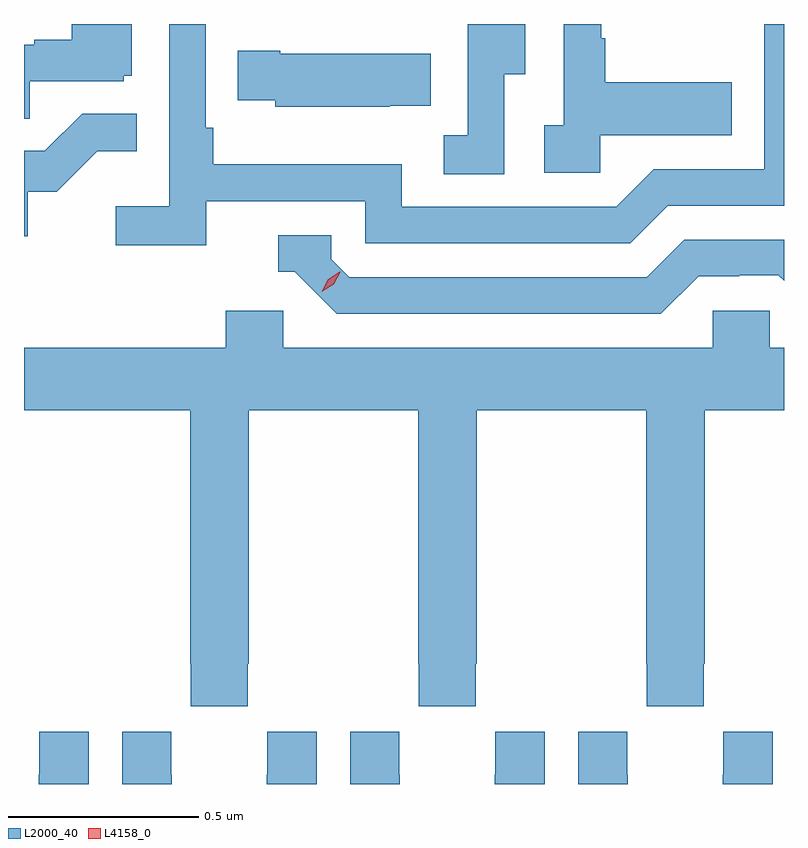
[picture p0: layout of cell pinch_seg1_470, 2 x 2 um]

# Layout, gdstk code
import gdstk
lib = gdstk.Library(unit=1e-6, precision=1e-09)
def P(c, l, *ps):  # polygons
    for p in ps: c.add(gdstk.Polygon(p, *l))
L2000_40 = (2000, 40)
L4158_0 = (4158, 0)

pinch_seg1_470 = lib.new_cell('pinch_seg1_470')
P(pinch_seg1_470, L2000_40, [(983.886,512.656),(983.941,512.656),(983.941,512.788),(983.79,512.788),(983.79,512.495),(983.727,512.495),(983.727,512.392),(983.886,512.392)],
  [(982.637,512.637),(982.884,512.637),(982.884,512.652),(982.906,512.652),(982.906,512.788),(982.748,512.788),(982.748,512.746),(982.649,512.746),(982.649,512.733),(982.622,512.733),(982.622,512.539),(982.637,512.539)],
  [(984.138,512.495),(984.485,512.495),(984.485,512.635),(984.151,512.635),(984.151,512.75),(984.141,512.75),(984.141,512.788),(984.042,512.788),(984.042,512.522),(983.991,512.522),(983.991,512.397),(984.138,512.397)],
  [(983.102,512.322),(983.52,512.322),(983.52,512.211),(984.217,512.211),(984.316,512.31),(984.622,512.31),(984.622,512.788),(984.57,512.788),(984.57,512.406),(984.279,512.406),(984.18,512.307),(983.616,512.307),(983.616,512.419),(983.12,512.419),(983.12,512.515),(983.1,512.515),(983.1,512.788),(983.004,512.788),(983.004,512.308),(982.863,512.308),(982.863,512.206),(983.102,512.206)],
  [(983.585,512.573),(983.693,512.573),(983.693,512.71),(983.296,512.71),(983.296,512.718),(983.185,512.718),(983.185,512.588),(983.283,512.588),(983.283,512.57),(983.585,512.57)],
  [(982.632,512.346),(982.708,512.346),(982.815,512.453),(982.919,512.453),(982.919,512.552),(982.775,512.552),(982.677,512.454),(982.622,512.454),(982.622,512.229),(982.632,512.229)],
  [(984.397,512.124),(984.504,512.124),(984.504,512.127),(984.607,512.127),(984.622,512.112),(984.622,512.22),(984.36,512.22),(984.261,512.121),(983.478,512.121),(983.43,512.169),(983.43,512.232),(983.291,512.232),(983.291,512.136),(983.334,512.136),(983.445,512.025),(984.298,512.025)],
  [(983.211,511.105),(983.214,511.105),(983.214,511.772),(983.659,511.772),(983.659,511.105),(983.661,511.105),(983.661,510.993),(983.811,510.993),(983.811,511.105),(983.814,511.105),(983.814,511.772),(984.259,511.772),(984.259,511.105),(984.261,511.105),(984.261,510.993),(984.411,510.993),(984.411,511.105),(984.414,511.105),(984.414,511.772),(984.622,511.772),(984.622,511.936),(984.585,511.936),(984.585,512.034),(984.435,512.034),(984.435,511.936),(983.304,511.936),(983.304,512.034),(983.153,512.034),(983.153,511.936),(982.622,511.936),(982.622,511.772),(983.059,511.772),(983.059,511.105),(983.061,511.105),(983.061,510.993),(983.211,510.993)],
  [(983.611,510.812),(983.61,510.812),(983.61,510.925),(983.48,510.925),(983.48,510.788),(983.611,510.788)],
  [(984.592,510.925),(984.462,510.925),(984.462,510.812),(984.461,510.812),(984.461,510.788),(984.592,510.788)],
  [(984.211,510.812),(984.21,510.812),(984.21,510.925),(984.08,510.925),(984.08,510.788),(984.211,510.788)],
  [(983.992,510.925),(983.862,510.925),(983.862,510.812),(983.861,510.812),(983.861,510.788),(983.992,510.788)],
  [(983.392,510.925),(983.262,510.925),(983.262,510.812),(983.261,510.812),(983.261,510.788),(983.392,510.788)],
  [(983.011,510.812),(983.01,510.812),(983.01,510.925),(982.88,510.925),(982.88,510.788),(983.011,510.788)],
  [(982.792,510.925),(982.662,510.925),(982.662,510.812),(982.661,510.812),(982.661,510.788),(982.792,510.788)])
P(pinch_seg1_470, L4158_0, [(983.406,512.084),(983.406,512.084),(983.422,512.116),(983.453,512.136),(983.454,512.136),(983.454,512.135),(983.437,512.103),(983.406,512.084)])

lib.write_gds('pinch_seg1_470.gds')
